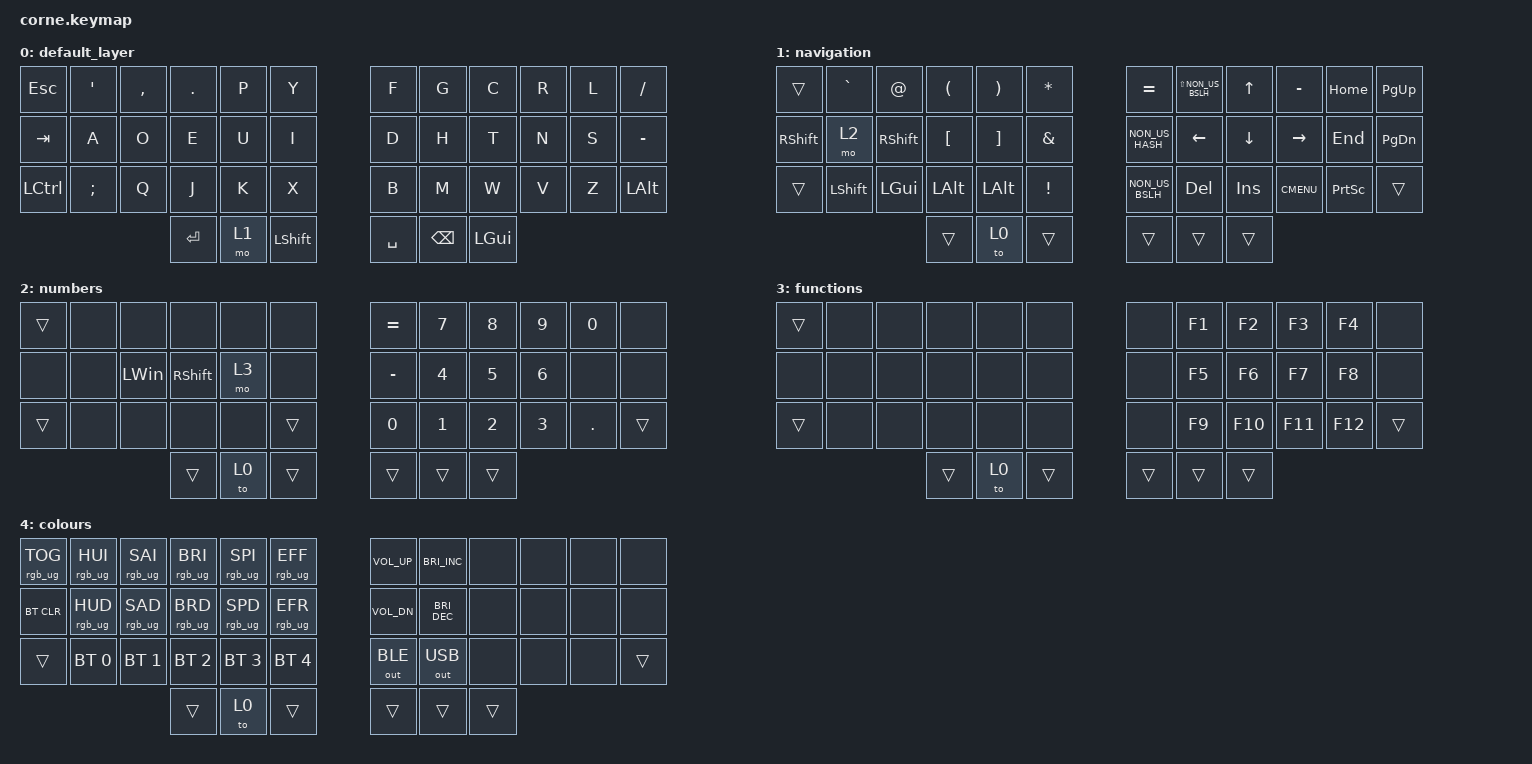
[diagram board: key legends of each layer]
/*
 * Generated using https://nickcoutsos.github.io/keymap-editor/
 */

#include <behaviors.dtsi>
#include <dt-bindings/zmk/bt.h>
#include <dt-bindings/zmk/keys.h>
#include <dt-bindings/zmk/outputs.h>
#include <dt-bindings/zmk/rgb.h>

/ {
    combos {
        compatible = "zmk,combos";

        to_navigation {
            bindings = <&to 1>;
            key-positions = <40 19>;
            layers = <0 2 3 4>;
        };

        to_numbers {
            bindings = <&to 2>;
            key-positions = <40 20>;
            layers = <0 1 3 4>;
        };

        to_functions {
            bindings = <&to 3>;
            key-positions = <40 21>;
            layers = <0 1 2 4>;
        };

        to_colours {
            bindings = <&to 4>;
            key-positions = <37 1>;
            layers = <0 1 2 3>;
        };

        cut {
            bindings = <&kp LC(X)>;
            key-positions = <37 26>;
            layers = <0 1>;
        };

        copy {
            bindings = <&kp LC(C)>;
            key-positions = <27 37>;
            layers = <0 1>;
        };

        paste {
            bindings = <&kp LC(V)>;
            key-positions = <28 37>;
            layers = <1 0>;
        };
    };

    keymap {
        compatible = "zmk,keymap";

        default_layer {
            bindings = <
&kp ESC    &kp SQT   &kp COMMA  &kp DOT  &kp P  &kp Y         &kp F      &kp G     &kp C     &kp R  &kp L  &kp FSLH
&kp TAB    &kp A     &kp O      &kp E    &kp U  &kp I         &kp D      &kp H     &kp T     &kp N  &kp S  &kp MINUS
&kp LCTRL  &kp SEMI  &kp Q      &kp J    &kp K  &kp X         &kp B      &kp M     &kp W     &kp V  &kp Z  &kp LALT
                                &kp RET  &mo 1  &kp LSHIFT    &kp SPACE  &kp BSPC  &kp LGUI
            >;
        };

        navigation {
            bindings = <
&trans           &kp GRAVE       &kp AT           &kp LPAR  &kp RPAR  &kp ASTRK    &kp EQUAL        &kp LS(NON_US_BSLH)  &kp UP    &kp MINUS    &kp HOME         &kp PG_UP
&kp RIGHT_SHIFT  &mo 2           &kp RIGHT_SHIFT  &kp LBKT  &kp RBKT  &kp AMPS     &kp NON_US_HASH  &kp LEFT             &kp DOWN  &kp RIGHT    &kp END          &kp PG_DN
&trans           &kp LEFT_SHIFT  &kp LGUI         &kp LALT  &kp LALT  &kp EXCL     &kp NON_US_BSLH  &kp DEL              &kp INS   &kp K_CMENU  &kp PRINTSCREEN  &trans
                                                  &trans    &to 0     &trans       &trans           &trans               &trans
            >;
        };

        numbers {
            bindings = <
&trans  &none  &none         &none            &none  &none     &kp EQUAL  &kp N7  &kp N8  &kp N9  &kp N0   &none
&none   &none  &kp LEFT_WIN  &kp RIGHT_SHIFT  &mo 3  &none     &kp MINUS  &kp N4  &kp N5  &kp N6  &none    &none
&trans  &none  &none         &none            &none  &trans    &kp N0     &kp N1  &kp N2  &kp N3  &kp DOT  &trans
                             &trans           &to 0  &trans    &trans     &trans  &trans
            >;
        };

        functions {
            bindings = <
&trans  &none  &none  &none   &none  &none     &none   &kp F1  &kp F2   &kp F3   &kp F4   &none
&none   &none  &none  &none   &none  &none     &none   &kp F5  &kp F6   &kp F7   &kp F8   &none
&trans  &none  &none  &none   &none  &none     &none   &kp F9  &kp F10  &kp F11  &kp F12  &trans
                      &trans  &to 0  &trans    &trans  &trans  &trans
            >;
        };

        colours {
            bindings = <
&rgb_ug RGB_TOG  &rgb_ug RGB_HUI  &rgb_ug RGB_SAI  &rgb_ug RGB_BRI  &rgb_ug RGB_SPI  &rgb_ug RGB_EFF    &kp C_VOL_UP  &kp C_BRIGHTNESS_INC  &none   &none  &none  &none
&bt BT_CLR       &rgb_ug RGB_HUD  &rgb_ug RGB_SAD  &rgb_ug RGB_BRD  &rgb_ug RGB_SPD  &rgb_ug RGB_EFR    &kp C_VOL_DN  &kp C_BRIGHTNESS_DEC  &none   &none  &none  &none
&trans           &bt BT_SEL 0     &bt BT_SEL 1     &bt BT_SEL 2     &bt BT_SEL 3     &bt BT_SEL 4       &out OUT_BLE  &out OUT_USB          &none   &none  &none  &trans
                                                   &trans           &to 0            &trans             &trans        &trans                &trans
            >;
        };
    };
};

// Underglow configs

&led_strip { chain-length = <27>; };
